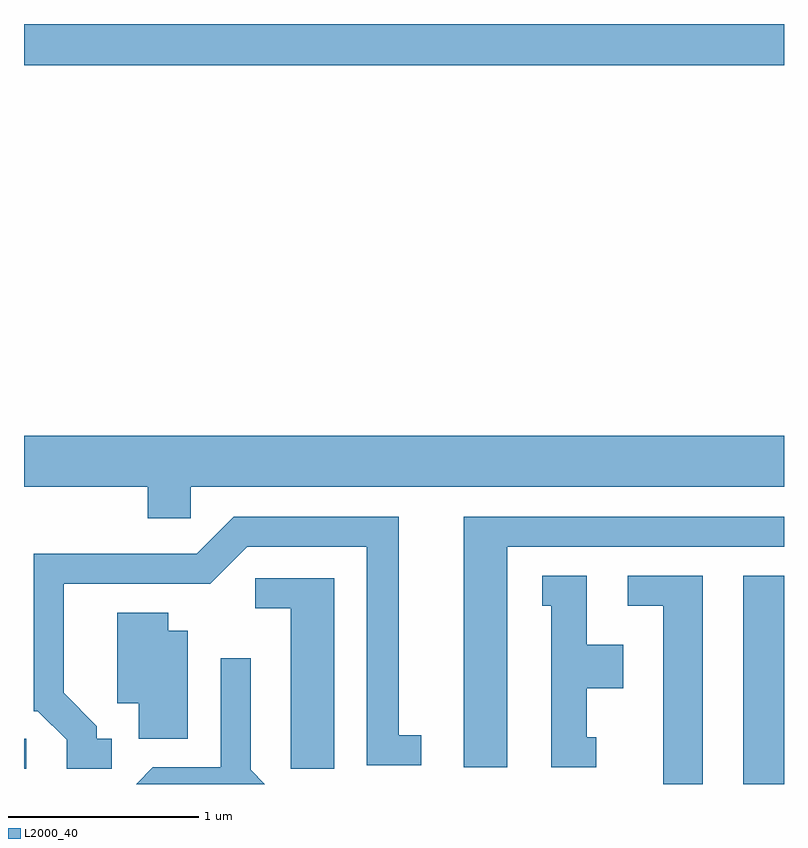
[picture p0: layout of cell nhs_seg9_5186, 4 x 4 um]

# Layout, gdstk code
import gdstk
lib = gdstk.Library(unit=1e-6, precision=1e-09)
def R(c, l, rs):  # rectangles x0, y0, x1, y1
    for r in rs: c.add(gdstk.rectangle(r[:2], r[2:], *l))
def P(c, l, *ps):  # polygons
    for p in ps: c.add(gdstk.Polygon(p, *l))
L2000_40 = (2000, 40)

nhs_seg9_5186 = lib.new_cell('nhs_seg9_5186')
R(nhs_seg9_5186, L2000_40, [(341.396,2032.432,341.611,2033.529), (337.611,2032.511,337.623,2032.669), (337.611,2036.216,341.611,2036.432)])
P(nhs_seg9_5186, L2000_40, [(338.489,2033.996),(341.611,2033.996),(341.611,2034.264),(337.611,2034.264),(337.611,2033.996),(338.261,2033.996),(338.261,2033.831),(338.489,2033.831)],
  [(340.154,2033.681),(341.611,2033.681),(341.611,2033.839),(339.926,2033.839),(339.926,2032.521),(340.154,2032.521)],
  [(338.073,2032.669),(337.994,2032.669),(337.994,2032.737),(337.819,2032.912),(337.819,2033.486),(338.592,2033.486),(338.787,2033.681),(339.416,2033.681),(339.416,2032.531),(339.703,2032.531),(339.703,2032.689),(339.584,2032.689),(339.584,2033.839),(338.714,2033.839),(338.519,2033.644),(337.661,2033.644),(337.661,2032.816),(337.684,2032.816),(337.836,2032.664),(337.836,2032.511),(338.073,2032.511)],
  [(340.623,2032.679),(340.574,2032.679),(340.574,2032.936),(340.764,2032.936),(340.764,2033.164),(340.574,2033.164),(340.574,2033.529),(340.338,2033.529),(340.338,2033.371),(340.386,2033.371),(340.386,2032.521),(340.623,2032.521)],
  [(341.184,2033.529),(340.788,2033.529),(340.788,2033.371),(340.976,2033.371),(340.976,2032.432),(341.184,2032.432)],
  [(339.244,2033.514),(338.828,2033.514),(338.828,2033.356),(339.016,2033.356),(339.016,2032.511),(339.244,2032.511)],
  [(338.474,2033.239),(338.369,2033.239),(338.369,2033.334),(338.101,2033.334),(338.101,2032.856),(338.216,2032.856),(338.216,2032.671),(338.474,2032.671)],
  [(338.804,2032.507),(338.804,2033.093),(338.646,2033.093),(338.646,2032.519),(338.289,2032.519),(338.202,2032.432),(338.879,2032.432)])

lib.write_gds('nhs_seg9_5186.gds')
